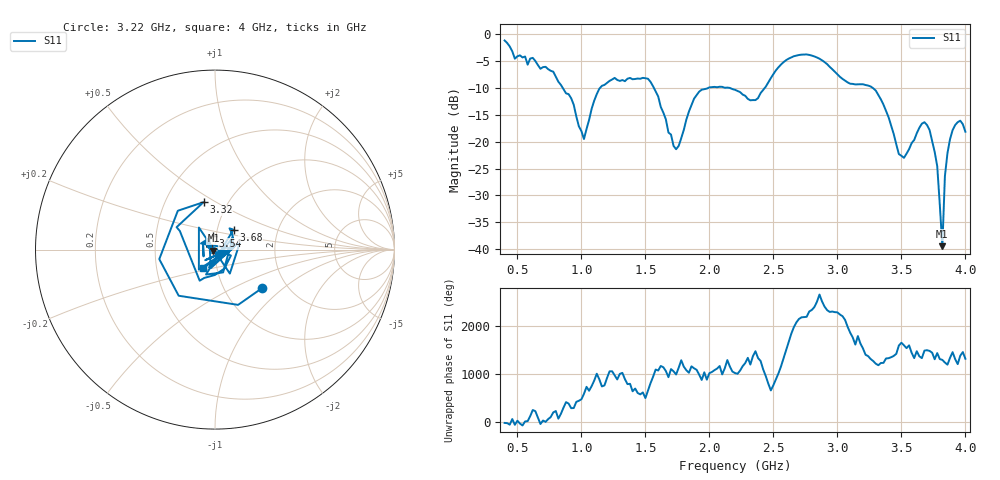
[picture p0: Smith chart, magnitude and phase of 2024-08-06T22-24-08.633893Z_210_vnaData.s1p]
!Created with skrf (http://scikit-rf.org).
# Hz S RI R 50.0
!freq ReS11 ImS11
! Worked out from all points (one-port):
!   181 points, 400 MHz to 4 GHz, reference 50 ohm
!   lowest |S11| = -39.4 dB at 3.82 GHz (marker M1), VSWR 1.02, Z = 49.1 - j0.581 ohm
!   |S11| at or under -10 dB: 854.6 MHz to 1.144 GHz (289.8 MHz wide, 29 % of centre); 1.567 GHz to 1.989 GHz (421.8 MHz wide, 23.7 % of centre); 3.278 GHz to end of sweep (the widest 3 of 4)
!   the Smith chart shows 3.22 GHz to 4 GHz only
!   S11 on the Smith chart (normalised r, x): 3.22 GHz: 1.49, -0.73; 3.32 GHz: 0.77, +0.44; 3.54 GHz: 0.97, +0.15; 3.68 GHz: 1.20, +0.27; 4 GHz: 0.86, -0.18
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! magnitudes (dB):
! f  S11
! 400 MHz  -1.1
! 480 MHz  -4.5
! 860 MHz  -10.2
! 1.02 GHz  -19.5
! 1.14 GHz  -10.1
! 1.3 GHz  -8.7
! 1.52 GHz  -8.3
! 1.72 GHz  -20.8
! 1.76 GHz  -20.8
! 1.92 GHz  -10.7
! 2.2 GHz  -10.3
! 2.36 GHz  -12.2
! 2.66 GHz  -4.1
! 2.84 GHz  -4.3
! 3.1 GHz  -9.2
! 3.22 GHz  -9.4
! 3.32 GHz  -11.3
! 3.48 GHz  -22.3
! 3.54 GHz  -22.2
! 3.56 GHz  -21.4
! 3.68 GHz  -16.4
! 3.72 GHz  -17.8
! 3.78 GHz  -24.6
! 3.82 GHz  -39.4
! 3.84 GHz  -26.4
! 3.88 GHz  -19.5
! 3.96 GHz  -16.1
! 4 GHz  -18.1
